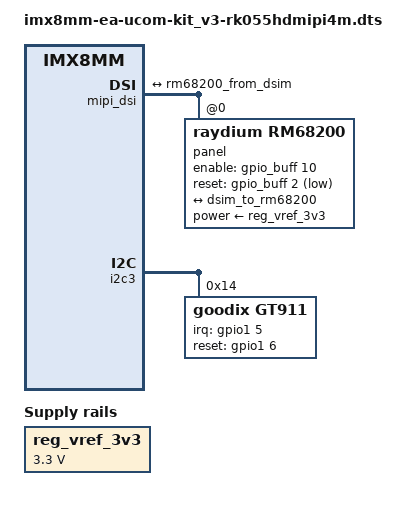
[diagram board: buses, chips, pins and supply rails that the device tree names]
/*
 * Copyright 2022 Embedded Artists AB
 *
 * The code contained herein is licensed under the GNU General Public
 * License. You may obtain a copy of the GNU General Public License
 * Version 2 or later at the following locations:
 *
 * http://www.opensource.org/licenses/gpl-license.html
 * http://www.gnu.org/copyleft/gpl.html
 */

/dts-v1/;

#include "imx8mm-ea-ucom-kit_v3.dts"

/ {

        regulators {
                compatible = "simple-bus";

		reg_vref_3v3: regulator-vref-3v3 {
			compatible = "regulator-fixed";
			regulator-name = "vref-3v3";
			regulator-min-microvolt = <3300000>;
			regulator-max-microvolt = <3300000>;
		};
	};
};

&mipi_dsi {
        status = "okay";

        panel@0 {
                compatible = "raydium,rm68200";
                reg = <0>;
                enable-gpios = <&gpio_buff 10 GPIO_ACTIVE_HIGH>; /* PCA6416: LCD_BL_PWR */
                reset-gpios = <&gpio_buff 2 GPIO_ACTIVE_LOW>;    /* PCA6416: DISP_MIPI_RST */
                power-supply = <&reg_vref_3v3>;
                /*backlight = <&pwm_backlight>;*/

                port {
                        rm68200_from_dsim: endpoint {
                                remote-endpoint = <&dsim_to_rm68200>;
                        };
                };
        };

        port@1 {
               /delete-node/dsim_to_adv7535;

               dsim_to_rm68200: endpoint {
                        remote-endpoint = <&rm68200_from_dsim>;
               };
        };
};

&i2c3 {
        /delete-node/adv7535@3d;

        /* Note that jumper J7 on the RK055HDMIPI4M display must be in
           the 2-3 position in order for the touch interface to work. */
        goodix@14 {
                compatible = "goodix,gt911";
                reg = <0x14>;
                pinctrl-names = "default";
                pinctrl-0 = <&pinctrl_mipi_dsi_touch>;
                interrupt-parent = <&gpio1>;
                interrupts = <5 IRQ_TYPE_EDGE_FALLING>;
                irq-gpios = <&gpio1 5 GPIO_ACTIVE_HIGH>;     /* GPIO_C 1.5 */
                reset-gpios = <&gpio1 6 GPIO_ACTIVE_HIGH>;   /* GPIO_D 1.6 */
                touchscreen-size-x = <720>;
                touchscreen-size-y = <1280>;
        };
};

&iomuxc {

        imx8mmea-kit {

                pinctrl_mipi_dsi_touch: mipi_dsi_touch {
                        fsl,pins = <
                                MX8MM_IOMUXC_GPIO1_IO05_GPIO1_IO5               0x16
                                MX8MM_IOMUXC_GPIO1_IO06_GPIO1_IO6               0x16
                        >;
                };
	};
};
